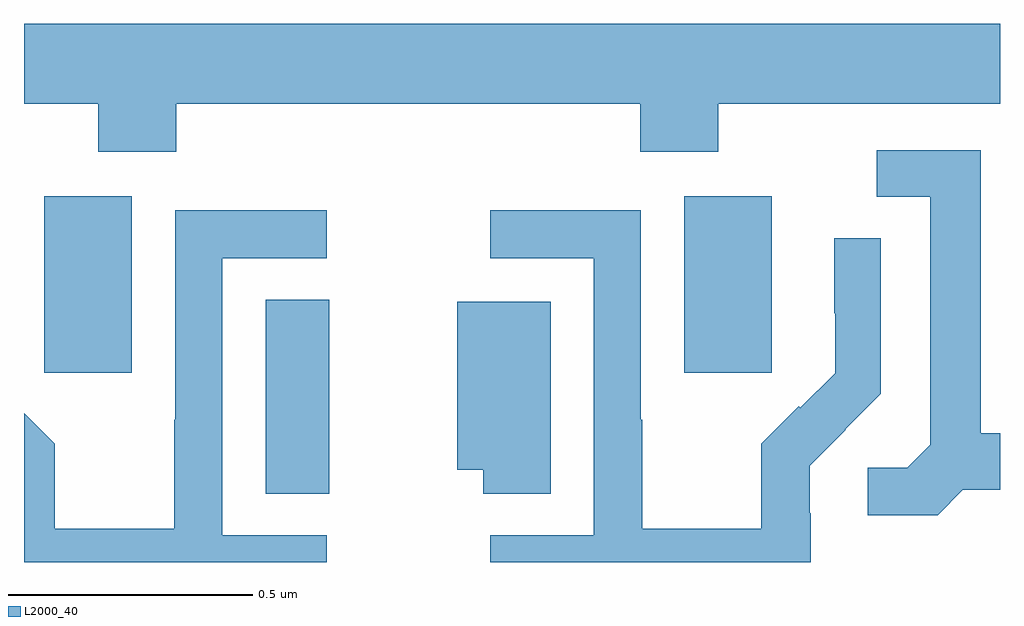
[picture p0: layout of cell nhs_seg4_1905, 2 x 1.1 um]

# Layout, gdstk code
import gdstk
lib = gdstk.Library(unit=1e-6, precision=1e-09)
def R(c, l, rs):  # rectangles x0, y0, x1, y1
    for r in rs: c.add(gdstk.rectangle(r[:2], r[2:], *l))
def P(c, l, *ps):  # polygons
    for p in ps: c.add(gdstk.Polygon(p, *l))
L2000_40 = (2000, 40)

nhs_seg4_1905 = lib.new_cell('nhs_seg4_1905')
R(nhs_seg4_1905, L2000_40, [(134.495,776.041,134.626,776.438), (134.042,776.289,134.221,776.65), (135.353,776.289,135.532,776.65)])
P(nhs_seg4_1905, L2000_40, [(134.312,776.84),(135.263,776.84),(135.263,776.741),(135.423,776.741),(135.423,776.84),(136,776.84),(136,777.004),(134,777.004),(134,776.84),(134.152,776.84),(134.152,776.741),(134.312,776.741)],
  [(135.924,776.049),(136,776.049),(136,776.165),(135.961,776.165),(135.961,776.745),(135.747,776.745),(135.747,776.649),(135.857,776.649),(135.857,776.141),(135.81,776.094),(135.729,776.094),(135.729,775.997),(135.872,775.997)],
  [(134.62,775.956),(134.406,775.956),(134.406,776.523),(134.62,776.523),(134.62,776.622),(134.31,776.622),(134.31,776.192),(134.308,776.192),(134.308,775.969),(134.063,775.969),(134.063,776.143),(134,776.206),(134,775.9),(134.62,775.9)],
  [(135.612,776.001),(135.61,776.001),(135.61,776.098),(135.684,776.172),(135.683,776.173),(135.756,776.246),(135.756,776.564),(135.66,776.564),(135.66,776.41),(135.662,776.41),(135.662,776.288),(135.591,776.217),(135.588,776.22),(135.511,776.143),(135.511,775.969),(135.267,775.969),(135.267,776.192),(135.264,776.192),(135.264,776.622),(134.955,776.622),(134.955,776.523),(135.168,776.523),(135.168,775.956),(134.955,775.956),(134.955,775.9),(135.612,775.9)],
  [(135.079,776.434),(134.888,776.434),(134.888,776.09),(134.941,776.09),(134.941,776.041),(135.079,776.041)])

lib.write_gds('nhs_seg4_1905.gds')
